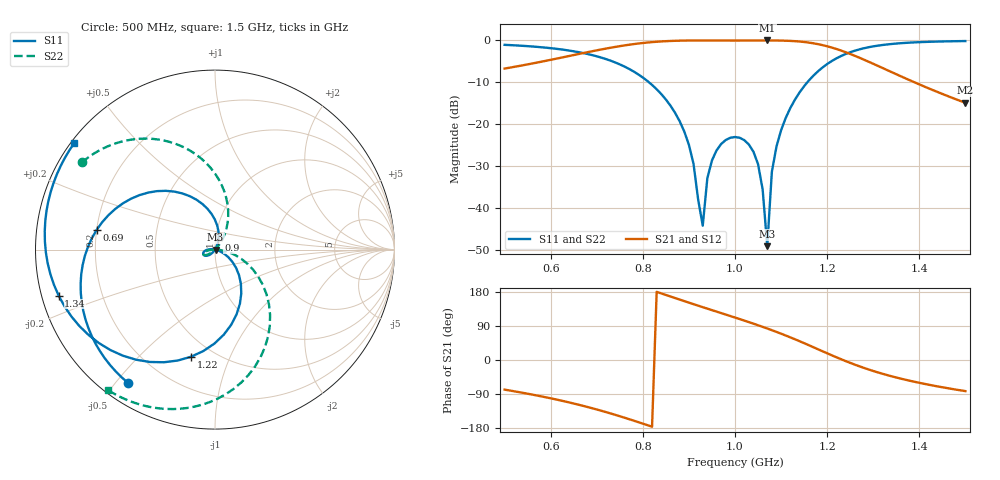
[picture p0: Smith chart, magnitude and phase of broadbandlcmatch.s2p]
! https://github.com/szoftveres
# Hz S RI R 50
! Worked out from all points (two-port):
!   101 points, 500 MHz to 1.5 GHz, reference 50 ohm
!   highest |S21| = 0.00 dB at 1.07 GHz (marker M1); lowest = -14.9 dB at 1.5 GHz (marker M2)
!   |S21| within 3 dB of the highest: 671 MHz to 1.245 GHz (573.8 MHz wide, 59.9 % of centre)
!   lowest |S11| = -49.1 dB at 1.07 GHz (marker M3), VSWR 1.01, Z = 50.3 - j0.0808 ohm
!   |S11| at or under -10 dB: 813.5 MHz to 1.157 GHz (343.4 MHz wide, 34.9 % of centre)
!   |S22| runs from -49.1 to -0.1 dB; largest |S21 - S12| = 0
!   S11 on the Smith chart (normalised r, x): 500 MHz: 0.08, -0.54; 690 MHz: 0.20, +0.08; 900 MHz: 1.03, +0.11; 1.22 GHz: 0.38, -0.73; 1.34 GHz: 0.05, -0.14; 1.5 GHz: 0.01, +0.34
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5e8  -0.4859 -0.7418  0.0943 -0.4526  0.0943 -0.4526  -0.7418 0.4859
5.9e8  -0.7215 -0.3893  -0.0852 -0.5662  -0.0852 -0.5662  -0.5751 0.5843
6.7e8  -0.708 0.0147  -0.3624 -0.6059  -0.3624 -0.6059  -0.3478 0.6169
6.9e8  -0.6599 0.1088  -0.4501 -0.5917  -0.4501 -0.5917  -0.2809 0.607
7.7e8  -0.3219 0.3258  -0.8124 -0.3608  -0.8124 -0.3608  -0.026 0.4573
8.4e8  -0.0405 0.2258  -0.9707 0.072  -0.9707 0.072  0.0733 0.2174
9e8  0.0191 0.0535  -0.8762 0.4785  -0.8762 0.4785  0.0347 0.045
9.3e8  -0.00348 -0.00511  -0.7597 0.6502  -0.7597 0.6502  -0.00451 -0.00423
9.4e8  -0.0144 -0.0177  -0.7132 0.7006  -0.7132 0.7006  -0.0174 -0.0147
9.5e8  -0.0257 -0.0267  -0.6634 0.7473  -0.6634 0.7473  -0.0296 -0.0224
1e9  -0.0654 -0.0265  -0.3742 0.9247  -0.3742 0.9247  -0.0654 -0.0265
1.05e9  -0.0335 0.00162  -0.0303 0.999  -0.0303 0.999  -0.0333 -0.00364
1.06e9  -0.0165 0.0023  0.044 0.9989  0.044 0.9989  -0.0167 -0.000839
1.07e9  0.00343 -0.000802  0.1196 0.9928  0.1196 0.9928  0.00352 -3.49e-05
1.08e9  0.0258 -0.00863  0.1961 0.9802  0.1961 0.9802  0.0271 -0.00195
1.09e9  0.0496 -0.0221  0.273 0.9605  0.273 0.9605  0.0538 -0.00734
1.12e9  0.1178 -0.1025  0.497 0.8536  0.497 0.8536  0.1473 -0.0519
1.17e9  0.1205 -0.3601  0.7687 0.5146  0.7687 0.5146  0.287 -0.2486
1.22e9  -0.133 -0.5968  0.785 0.0996  0.785 0.0996  0.2779 -0.5446
1.27e9  -0.5129 -0.5912  0.5964 -0.1783  0.5964 -0.1783  0.1043 -0.7757
1.34e9  -0.8711 -0.2562  0.3064 -0.2858  0.3064 -0.2858  -0.1952 -0.8868
1.5e9  -0.7844 0.5934  0.0248 -0.1787  0.0248 -0.1787  -0.5934 -0.7844
